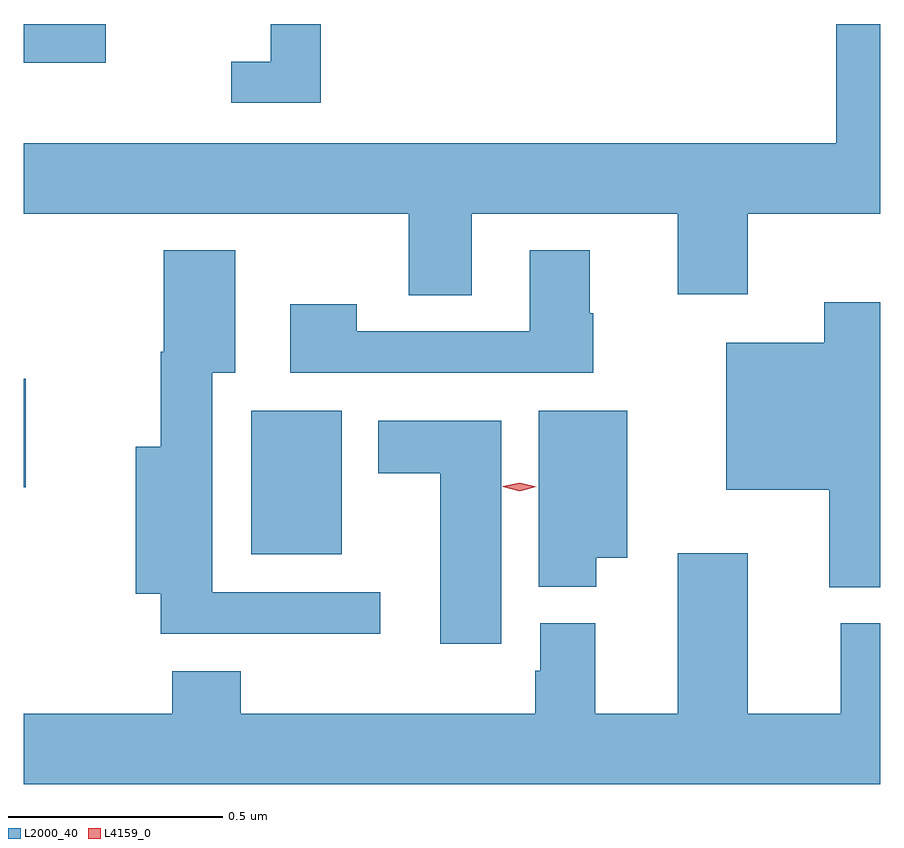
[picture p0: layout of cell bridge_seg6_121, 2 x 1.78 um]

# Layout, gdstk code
import gdstk
lib = gdstk.Library(unit=1e-6, precision=1e-09)
def R(c, l, rs):  # rectangles x0, y0, x1, y1
    for r in rs: c.add(gdstk.rectangle(r[:2], r[2:], *l))
def P(c, l, *ps):  # polygons
    for p in ps: c.add(gdstk.Polygon(p, *l))
L2000_40 = (2000, 40)
L4159_0 = (4159, 0)

bridge_seg6_121 = lib.new_cell('bridge_seg6_121')
R(bridge_seg6_121, L2000_40, [(379.796,938.549,380.008,938.884), (379.265,938.705,379.27,938.959), (379.265,939.696,379.456,939.787)])
P(bridge_seg6_121, L2000_40, [(380.311,939.344),(380.792,939.344),(380.792,939.156),(380.956,939.156),(380.956,939.344),(381.265,939.344),(381.265,939.787),(381.162,939.787),(381.162,939.508),(379.265,939.508),(379.265,939.344),(380.164,939.344),(380.164,939.154),(380.311,939.154)],
  [(379.958,939.787),(379.842,939.787),(379.842,939.699),(379.749,939.699),(379.749,939.603),(379.958,939.603)],
  [(380.098,938.46),(379.705,938.46),(379.705,938.972),(379.759,938.972),(379.759,939.259),(379.592,939.259),(379.592,939.021),(379.585,939.021),(379.585,938.8),(379.526,938.8),(379.526,938.456),(379.585,938.456),(379.585,938.363),(380.098,938.363)],
  [(380.595,939.111),(380.587,939.111),(380.587,939.259),(380.447,939.259),(380.447,939.069),(380.043,939.069),(380.043,939.133),(379.887,939.133),(379.887,938.973),(380.595,938.973)],
  [(381.265,939.137),(381.134,939.137),(381.134,939.043),(380.906,939.043),(380.906,938.699),(381.146,938.699),(381.146,938.472),(381.265,938.472)],
  [(380.602,938.54),(380.674,938.54),(380.674,938.884),(380.468,938.884),(380.468,938.473),(380.602,938.473)],
  [(380.38,938.86),(380.093,938.86),(380.093,938.738),(380.237,938.738),(380.237,938.34),(380.38,938.34)],
  [(379.612,938.275),(379.612,938.176),(379.265,938.176),(379.265,938.012),(381.265,938.012),(381.265,938.387),(381.173,938.387),(381.173,938.176),(380.956,938.176),(380.956,938.551),(380.792,938.551),(380.792,938.176),(380.599,938.176),(380.599,938.388),(380.471,938.388),(380.471,938.277),(380.459,938.277),(380.459,938.176),(379.772,938.176),(379.772,938.275)])
P(bridge_seg6_121, L4159_0, [(380.423,938.696),(380.383,938.706),(380.383,938.707),(380.383,938.707),(380.423,938.716),(380.462,938.706),(380.462,938.706),(380.462,938.706)])

lib.write_gds('bridge_seg6_121.gds')
